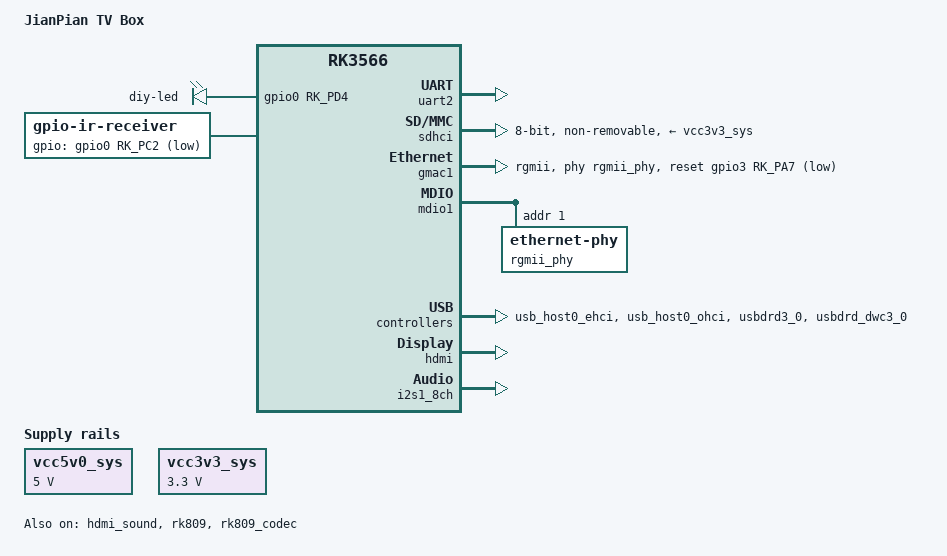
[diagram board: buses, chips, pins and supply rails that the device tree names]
/dts-v1/;
#include <dt-bindings/gpio/gpio.h>
#include <dt-bindings/pinctrl/rockchip.h>
#include <dt-bindings/soc/rockchip,vop2.h>
#include <rockchip/rk3566.dtsi>


/ {
    model = "JianPian TV Box";
    compatible = "jianpian,tvbox", "rockchip,rk3566";

    chosen {
        stdout-path = "serial2:1500000n8";
    };

    aliases {
        mmc0 = &sdhci;   // eMMC 启动
    };

    leds {
        compatible = "gpio-leds";
        diy-led {
            label = "diy-led";
            gpios = <&gpio0 RK_PD4 GPIO_ACTIVE_HIGH>;
            default-state = "on";
        };
    };

    ir-receiver {
        compatible = "gpio-ir-receiver";
        gpios = <&gpio0 RK_PC2 GPIO_ACTIVE_LOW>;
    };

    /* 电源管理 */
    vcc5v0_sys: vcc5v0-sys {
        compatible = "regulator-fixed";
        regulator-name = "vcc5v0_sys";
        regulator-min-microvolt = <5000000>;
        regulator-max-microvolt = <5000000>;
        regulator-always-on;
        regulator-boot-on;
    };

    vcc3v3_sys: vcc3v3-sys {
        compatible = "regulator-fixed";
        regulator-name = "vcc3v3_sys";
        regulator-min-microvolt = <3300000>;
        regulator-max-microvolt = <3300000>;
        regulator-always-on;
        regulator-boot-on;
    };
};

/* UART2 作为 debug 串口 */
&uart2 {
    status = "okay";
};

/* eMMC (sdhci) */
&sdhci {
    bus-width = <8>;
    non-removable;
    mmc-hs200-1_8v;
    vmmc-supply = <&vcc3v3_sys>;
    vqmmc-supply = <&vcc3v3_sys>;
    status = "okay";
};

/* GMAC1 千兆网口 */
&gmac1 {
    phy-handle = <&rgmii_phy>;
    phy-mode = "rgmii";
    clock_in_out = "input";
    snps,reset-gpio = <&gpio3 RK_PA7 GPIO_ACTIVE_LOW>;
    snps,reset-active-low;
    snps,reset-delays-us = <0 10000 50000>;
    tx_delay = <0x30>;
    rx_delay = <0x10>;
    status = "okay";
};

&mdio1 {
    rgmii_phy: ethernet-phy@1 {
        reg = <1>;
    };
};

/* USB2/USB3 Host */
&usb_host0_ehci {
    status = "okay";
};
&usb_host0_ohci {
    status = "okay";
};
&usbdrd3_0 {
    status = "okay";
};
&usbdrd_dwc3_0 {
    status = "okay";
};

/* HDMI 输出 */
&hdmi {
    status = "okay";
};

&hdmi_sound {
    status = "okay";
};

/* Codec 声卡 (rk809/hdmi) */
&rk809 {
    status = "okay";

    regulators {
        vdd_logic: DCDC_REG1 {
            regulator-name = "vdd_logic";
            regulator-always-on;
        };
        vdd_arm: DCDC_REG2 {
            regulator-name = "vdd_arm";
            regulator-always-on;
        };
        vcc_ddr: DCDC_REG3 {
            regulator-name = "vcc_ddr";
            regulator-always-on;
        };
        vcc_3v3: DCDC_REG4 {
            regulator-name = "vcc_3v3";
            regulator-always-on;
        };
    };
};

&rk809_codec {
    status = "okay";
};

&i2s1_8ch {
    status = "okay";
};

&sound {
    status = "okay";
    simple-audio-card,format = "i2s";
    simple-audio-card,name = "rk809-sound";
    simple-audio-card,widgets =
        "Headphone", "Headphones",
        "Microphone", "Mic Jack";
    simple-audio-card,routing =
        "Headphones", "HPOL",
        "Headphones", "HPOR",
        "MICBIAS1", "Mic Jack",
        "IN1P", "Mic Jack";
    simple-audio-card,cpu {
        sound-dai = <&i2s1_8ch>;
    };
    simple-audio-card,codec {
        sound-dai = <&rk809_codec>;
    };
};
